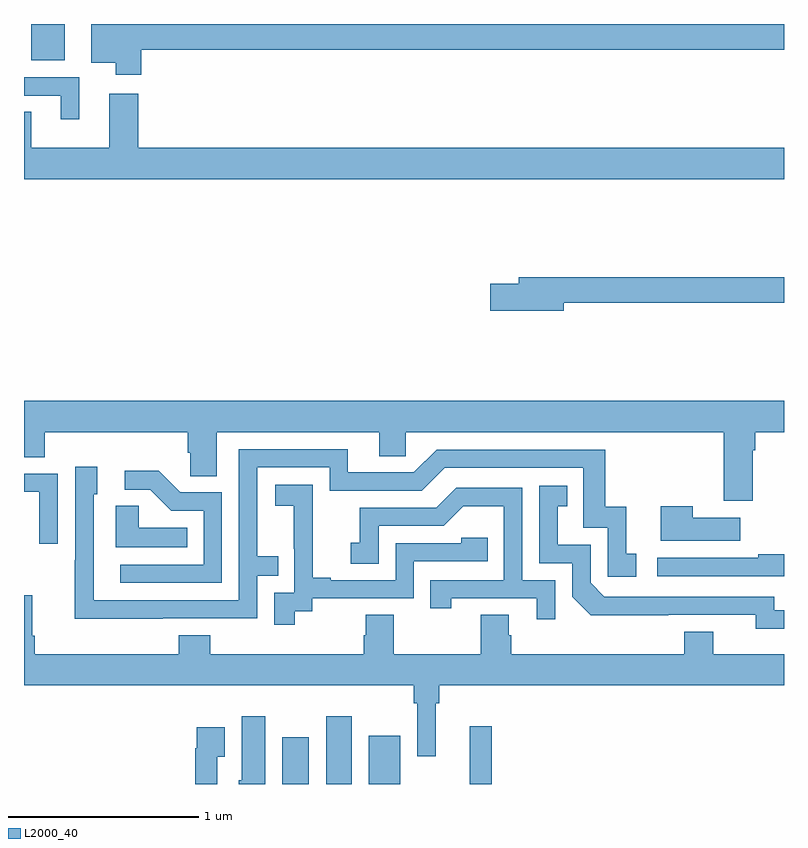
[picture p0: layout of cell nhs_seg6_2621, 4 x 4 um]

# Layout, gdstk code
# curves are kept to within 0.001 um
import gdstk
lib = gdstk.Library(unit=1e-6, precision=1e-09)
def R(c, l, rs):  # rectangles x0, y0, x1, y1
    for r in rs: c.add(gdstk.rectangle(r[:2], r[2:], *l))
def P(c, l, *ps):  # polygons
    for p in ps: c.add(gdstk.Polygon(p, *l))
L2000_40 = (2000, 40)

nhs_seg6_2621 = lib.new_cell('nhs_seg6_2621')
R(nhs_seg6_2621, L2000_40, [(268.358,929.5,268.498,929.746), (268.592,929.5,268.726,929.857), (268.814,929.5,268.981,929.755), (269.345,929.5,269.462,929.803), (267.038,933.308,267.214,933.5)])
P(nhs_seg6_2621, L2000_40, [(267.617,933.364),(271,933.364),(271,933.5),(267.353,933.5),(267.353,933.296),(267.482,933.296),(267.482,933.234),(267.617,933.234)],
  [(267.292,933.219),(267,933.219),(267,933.123),(267.194,933.123),(267.194,933),(267.292,933)],
  [(271,932.848),(267.602,932.848),(267.602,933.133),(267.449,933.133),(267.449,932.848),(267.037,932.848),(267.037,933.038),(267,933.038),(267,932.684),(271,932.684)],
  [(269.842,932.032),(271,932.032),(271,932.168),(269.603,932.168),(269.603,932.132),(269.454,932.132),(269.454,931.99),(269.842,931.99)],
  [(270.835,931.256),(270.848,931.256),(270.848,931.352),(271,931.352),(271,931.516),(267,931.516),(267,931.219),(267.11,931.219),(267.11,931.352),(267.863,931.352),(267.863,931.243),(267.876,931.243),(267.876,931.12),(268.015,931.12),(268.015,931.352),(268.871,931.352),(268.871,931.225),(269.01,931.225),(269.01,931.352),(270.683,931.352),(270.683,930.99),(270.835,930.99)],
  [(267.731,930.372),(268.227,930.372),(268.227,930.597),(268.337,930.597),(268.337,930.698),(268.227,930.698),(268.227,931.167),(268.608,931.167),(268.608,931.044),(269.094,931.044),(269.214,931.164),(269.943,931.164),(269.943,930.849),(270.072,930.849),(270.072,930.591),(270.223,930.591),(270.223,930.711),(270.17,930.711),(270.17,930.958),(270.059,930.958),(270.059,931.26),(269.172,931.26),(269.052,931.14),(268.705,931.14),(268.705,931.263),(268.131,931.263),(268.131,930.468),(267.366,930.468),(267.366,931.026),(267.385,931.026),(267.385,931.171),(267.27,931.171),(267.27,930.677),(267.268,930.677),(267.268,930.371)],
  [(268.041,931.035),(267.822,931.035),(267.709,931.148),(267.531,931.148),(267.531,931.05),(267.665,931.05),(267.776,930.939),(267.945,930.939),(267.945,930.654),(267.507,930.654),(267.507,930.558),(268.041,930.558)],
  [(267.177,931.134),(267,931.134),(267,931.038),(267.081,931.038),(267.081,930.765),(267.177,930.765)],
  [(268.426,930.409),(268.518,930.409),(268.518,930.477),(269.052,930.477),(269.052,930.672),(269.441,930.672),(269.441,930.795),(269.301,930.795),(269.301,930.768),(268.956,930.768),(268.956,930.573),(268.615,930.573),(268.615,930.586),(268.52,930.586),(268.52,930.869),(268.521,930.869),(268.521,931.075),(268.323,931.075),(268.323,930.965),(268.421,930.965),(268.421,930.737),(268.422,930.737),(268.422,930.507),(268.317,930.507),(268.317,930.339),(268.426,930.339)],
  [(271,930.414),(270.948,930.414),(270.948,930.486),(270.054,930.486),(269.982,930.558),(269.982,930.759),(269.809,930.759),(269.809,930.963),(269.858,930.963),(269.858,931.069),(269.712,931.069),(269.712,930.663),(269.886,930.663),(269.886,930.486),(269.984,930.389),(270.852,930.39),(270.852,930.317),(271,930.317)],
  [(269.796,930.573),(269.622,930.573),(269.622,931.059),(269.276,931.059),(269.171,930.954),(268.768,930.954),(268.768,930.769),(268.719,930.769),(268.719,930.66),(268.866,930.66),(268.866,930.858),(269.208,930.858),(269.312,930.962),(269.526,930.962),(269.526,930.573),(269.137,930.573),(269.137,930.426),(269.248,930.426),(269.248,930.477),(269.699,930.477),(269.699,930.366),(269.796,930.366)],
  [(267.86,930.85),(267.603,930.85),(267.603,930.965),(267.482,930.965),(267.482,930.746),(267.86,930.746)],
  [(270.769,930.901),(270.521,930.901),(270.521,930.961),(270.35,930.961),(270.35,930.779),(270.769,930.779)],
  [(271,930.71),(270.865,930.71),(270.865,930.69),(270.333,930.69),(270.333,930.594),(271,930.594)],
  [(268.947,930.392),(268.799,930.392),(268.799,930.282),(268.787,930.282),(268.787,930.184),(267.98,930.184),(267.98,930.283),(267.815,930.283),(267.815,930.184),(267.056,930.184),(267.056,930.28),(267.043,930.28),(267.043,930.493),(267,930.493),(267,930.02),(269.05,930.02),(269.05,929.924),(269.07,929.924),(269.07,929.646),(269.168,929.646),(269.168,929.924),(269.186,929.924),(269.186,930.02),(271,930.02),(271,930.184),(270.628,930.184),(270.628,930.301),(270.476,930.301),(270.476,930.184),(269.564,930.184),(269.564,930.282),(269.551,930.282),(269.551,930.392),(269.404,930.392),(269.404,930.184),(268.947,930.184)],
  [(268.27,929.857),(268.145,929.857),(268.145,929.52),(268.13,929.52),(268.13,929.5),(268.27,929.5)],
  [(268.017,929.644),(268.057,929.644),(268.057,929.8),(267.909,929.8),(267.909,929.687),(267.901,929.687),(267.901,929.5),(268.017,929.5)])

lib.write_gds('nhs_seg6_2621.gds')
